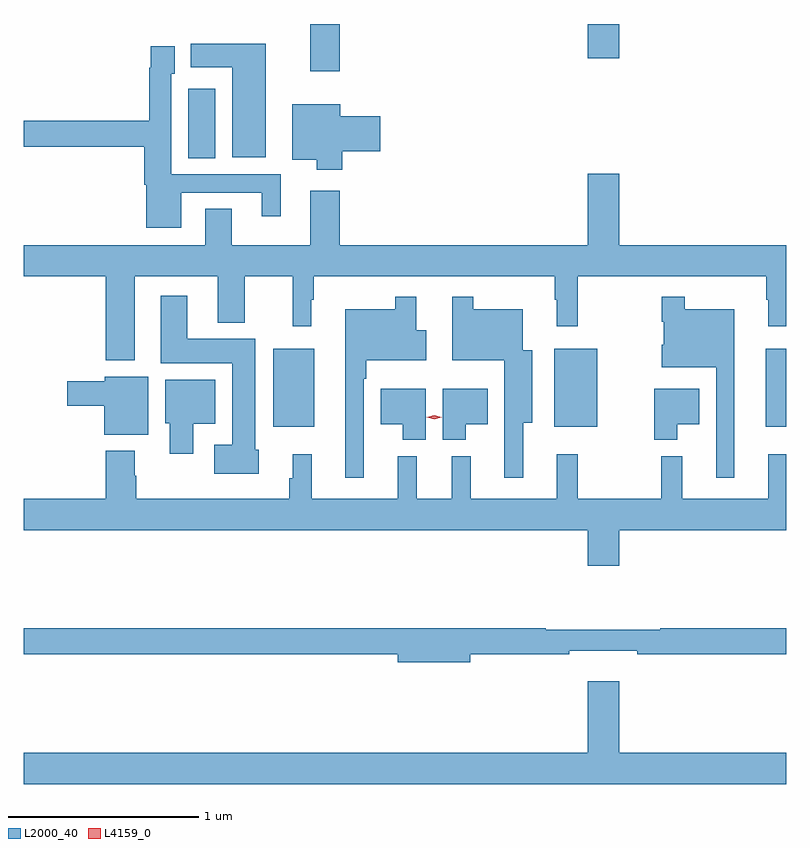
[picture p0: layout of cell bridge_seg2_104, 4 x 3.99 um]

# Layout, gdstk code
import gdstk
lib = gdstk.Library(unit=1e-6, precision=1e-09)
def R(c, l, rs):  # rectangles x0, y0, x1, y1
    for r in rs: c.add(gdstk.rectangle(r[:2], r[2:], *l))
def P(c, l, *ps):  # polygons
    for p in ps: c.add(gdstk.Polygon(p, *l))
L2000_40 = (2000, 40)
L4159_0 = (4159, 0)

bridge_seg2_104 = lib.new_cell('bridge_seg2_104')
R(bridge_seg2_104, L2000_40, [(522.998,638.855,523.213,639.265), (524.471,638.855,524.698,639.265), (525.581,638.855,525.689,639.265), (522.551,640.264,522.694,640.627), (523.193,640.719,523.346,640.968), (524.648,640.788,524.812,640.968)])
P(bridge_seg2_104, L2000_40, [(522.958,640.864),(522.566,640.864),(522.566,640.742),(522.782,640.742),(522.782,640.268),(522.958,640.268)],
  [(522.514,640.083),(522.938,640.083),(522.938,639.96),(523.036,639.96),(523.036,640.179),(522.462,640.179),(522.462,640.707),(522.481,640.707),(522.481,640.852),(522.354,640.852),(522.354,640.739),(522.346,640.739),(522.346,640.46),(521.689,640.46),(521.689,640.324),(522.32,640.324),(522.32,640.125),(522.332,640.125),(522.332,639.899),(522.514,639.899)],
  [(523.361,640.301),(523.558,640.301),(523.558,640.484),(523.348,640.484),(523.348,640.546),(523.097,640.546),(523.097,640.256),(523.226,640.256),(523.226,640.202),(523.361,640.202)],
  [(522.271,639.644),(522.707,639.644),(522.707,639.401),(522.847,639.401),(522.847,639.644),(523.099,639.644),(523.099,639.381),(523.198,639.381),(523.198,639.521),(523.21,639.521),(523.21,639.644),(524.475,639.644),(524.475,639.521),(524.486,639.521),(524.486,639.381),(524.596,639.381),(524.596,639.644),(525.585,639.644),(525.585,639.521),(525.596,639.521),(525.596,639.381),(525.689,639.381),(525.689,639.808),(524.812,639.808),(524.812,640.183),(524.648,640.183),(524.648,639.808),(523.346,639.808),(523.346,640.093),(523.193,640.093),(523.193,639.808),(522.781,639.808),(522.781,639.998),(522.641,639.998),(522.641,639.808),(521.689,639.808),(521.689,639.644),(522.119,639.644),(522.119,639.203),(522.271,639.203)],
  [(522.922,638.733),(522.904,638.733),(522.904,639.316),(522.547,639.316),(522.547,639.541),(522.407,639.541),(522.407,639.188),(522.782,639.188),(522.782,638.761),(522.687,638.761),(522.687,638.609),(522.922,638.609)],
  [(523.473,639.107),(523.486,639.107),(523.486,639.203),(523.801,639.203),(523.801,639.361),(523.748,639.361),(523.748,639.538),(523.638,639.538),(523.638,639.472),(523.376,639.472),(523.376,638.586),(523.473,638.586)],
  [(525.418,639.472),(525.157,639.472),(525.157,639.538),(525.036,639.538),(525.036,639.405),(525.047,639.405),(525.047,639.285),(525.035,639.285),(525.035,639.167),(525.321,639.167),(525.321,638.586),(525.418,638.586)],
  [(524.309,638.876),(524.356,638.876),(524.356,639.256),(524.308,639.256),(524.308,639.472),(524.047,639.472),(524.047,639.538),(523.938,639.538),(523.938,639.203),(524.211,639.203),(524.211,638.586),(524.309,638.586)],
  [(522.343,639.118),(522.114,639.118),(522.114,639.094),(521.916,639.094),(521.916,638.965),(522.11,638.965),(522.11,638.813),(522.343,638.813)],
  [(522.577,638.87),(522.694,638.87),(522.694,639.1),(522.431,639.1),(522.431,638.874),(522.455,638.874),(522.455,638.712),(522.577,638.712)],
  [(525.118,638.867),(525.232,638.867),(525.232,639.055),(524.996,639.055),(524.996,638.786),(525.118,638.786)],
  [(524.008,638.867),(524.122,638.867),(524.122,639.055),(523.886,639.055),(523.886,638.786),(524.008,638.786)],
  [(523.798,639.055),(523.562,639.055),(523.562,638.867),(523.676,638.867),(523.676,638.786),(523.798,638.786)],
  [(524.812,638.312),(525.689,638.312),(525.689,638.71),(525.596,638.71),(525.596,638.476),(525.143,638.476),(525.143,638.701),(525.033,638.701),(525.033,638.476),(524.596,638.476),(524.596,638.71),(524.486,638.71),(524.486,638.476),(524.033,638.476),(524.033,638.701),(523.934,638.701),(523.934,638.476),(523.751,638.476),(523.751,638.701),(523.652,638.701),(523.652,638.476),(523.199,638.476),(523.199,638.71),(523.1,638.71),(523.1,638.585),(523.081,638.585),(523.081,638.476),(522.279,638.476),(522.279,638.597),(522.271,638.597),(522.271,638.728),(522.119,638.728),(522.119,638.476),(521.689,638.476),(521.689,638.312),(524.648,638.312),(524.648,638.124),(524.812,638.124)],
  [(524.032,637.66),(524.552,637.66),(524.552,637.679),(524.908,637.679),(524.908,637.66),(525.689,637.66),(525.689,637.796),(525.028,637.796),(525.028,637.789),(524.428,637.789),(524.428,637.796),(521.689,637.796),(521.689,637.66),(523.652,637.66),(523.652,637.618),(524.032,637.618)],
  [(525.689,637.144),(524.812,637.144),(524.812,637.519),(524.648,637.519),(524.648,637.144),(521.689,637.144),(521.689,636.98),(525.689,636.98)])
P(bridge_seg2_104, L4159_0, [(523.842,638.894),(523.802,638.904),(523.802,638.904),(523.802,638.904),(523.842,638.914),(523.882,638.904),(523.882,638.904),(523.882,638.904)])

lib.write_gds('bridge_seg2_104.gds')
